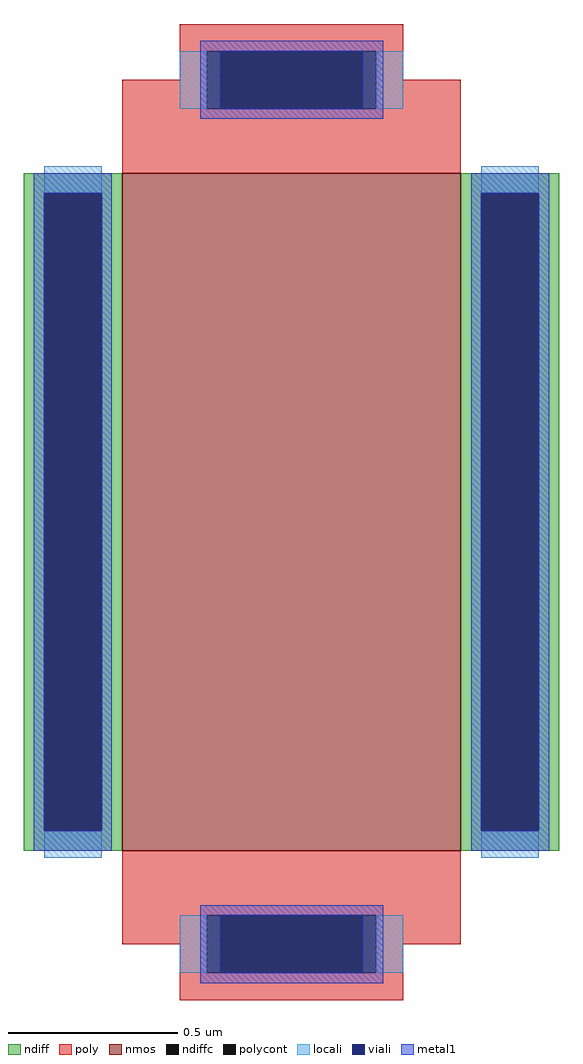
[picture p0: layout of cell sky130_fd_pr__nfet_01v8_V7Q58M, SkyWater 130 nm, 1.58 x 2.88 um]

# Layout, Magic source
magic
tech sky130A
magscale 1 2
<< nmos >>
rect -100 -200 100 200
<< ndiff >>
rect -158 188 -100 200
rect -158 -188 -146 188
rect -112 -188 -100 188
rect -158 -200 -100 -188
rect 100 188 158 200
rect 100 -188 112 188
rect 146 -188 158 188
rect 100 -200 158 -188
<< ndiffc >>
rect -146 -188 -112 188
rect 112 -188 146 188
<< poly >>
rect -66 272 66 288
rect -66 255 -50 272
rect -100 238 -50 255
rect 50 255 66 272
rect 50 238 100 255
rect -100 200 100 238
rect -100 -238 100 -200
rect -100 -255 -50 -238
rect -66 -272 -50 -255
rect 50 -255 100 -238
rect 50 -272 66 -255
rect -66 -288 66 -272
<< polycont >>
rect -50 238 50 272
rect -50 -272 50 -238
<< locali >>
rect -66 238 -50 272
rect 50 238 66 272
rect -146 188 -112 204
rect -146 -204 -112 -188
rect 112 188 146 204
rect 112 -204 146 -188
rect -66 -272 -50 -238
rect 50 -272 66 -238
<< viali >>
rect -42 238 42 272
rect -146 -188 -112 188
rect 112 -188 146 188
rect -42 -272 42 -238
<< metal1 >>
rect -54 272 54 278
rect -54 238 -42 272
rect 42 238 54 272
rect -54 232 54 238
rect -152 188 -106 200
rect -152 -188 -146 188
rect -112 -188 -106 188
rect -152 -200 -106 -188
rect 106 188 152 200
rect 106 -188 112 188
rect 146 -188 152 188
rect 106 -200 152 -188
rect -54 -238 54 -232
rect -54 -272 -42 -238
rect 42 -272 54 -238
rect -54 -278 54 -272
<< properties >>
string gencell sky130_fd_pr__nfet_01v8
string parameters w 2 l 1 m 1 nf 1 diffcov 100 polycov 60 guard 0 glc 1 grc 1 gtc 1 gbc 1 tbcov 100 rlcov 100 topc 1 botc 1 poverlap 0 doverlap 1 lmin 0.15 wmin 0.42 compatible {sky130_fd_pr__nfet_01v8 sky130_fd_pr__nfet_01v8_lvt  sky130_fd_bs_flash__special_sonosfet_star  sky130_fd_pr__nfet_g5v0d10v5 sky130_fd_pr__nfet_05v0_nvt  sky130_fd_pr__nfet_03v3_nvt} full_metal 1 viasrc 100 viadrn 100 viagate 50 viagb 0 viagr 0 viagl 0 viagt 0
string library sky130
<< end >>
